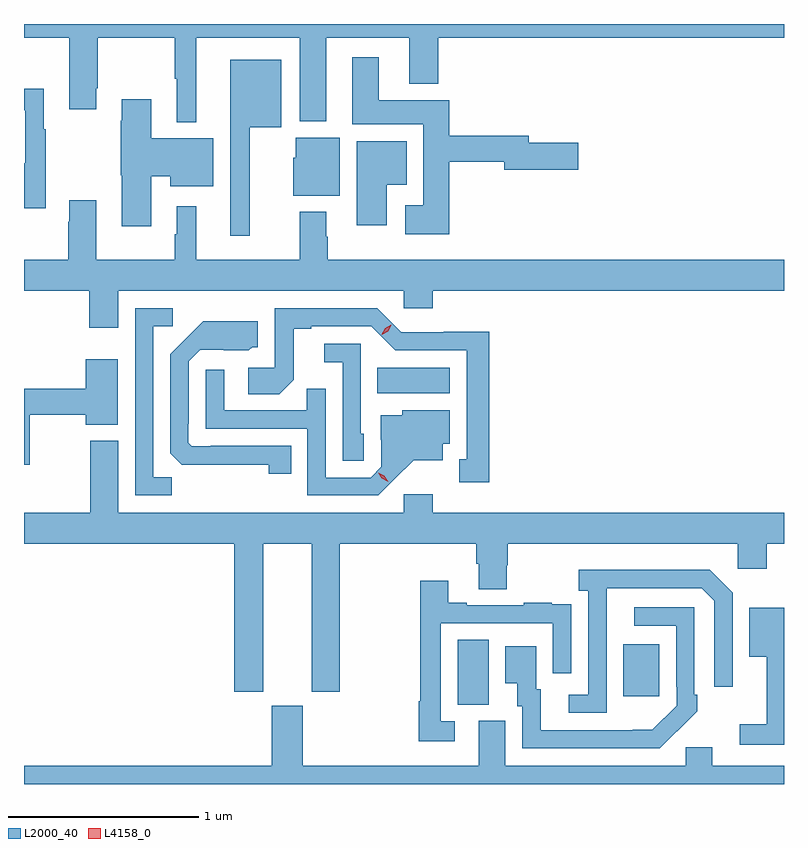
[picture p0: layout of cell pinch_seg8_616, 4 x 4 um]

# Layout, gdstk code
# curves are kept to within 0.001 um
import gdstk
lib = gdstk.Library(unit=1e-6, precision=1e-09)
def R(c, l, rs):  # rectangles x0, y0, x1, y1
    for r in rs: c.add(gdstk.rectangle(r[:2], r[2:], *l))
def P(c, l, *ps):  # polygons
    for p in ps: c.add(gdstk.Polygon(p, *l))
L2000_40 = (2000, 40)
L4158_0 = (4158, 0)

pinch_seg8_616 = lib.new_cell('pinch_seg8_616')
R(pinch_seg8_616, L2000_40, [(192.182,1097.005,192.346,1097.348), (193.055,1097.049,193.243,1097.323), (191.758,1098.644,192.142,1098.778)])
P(pinch_seg8_616, L2000_40, [(190.807,1100.516),(191.351,1100.516),(191.351,1100.075),(191.491,1100.075),(191.491,1100.516),(191.927,1100.516),(191.927,1100.273),(192.08,1100.273),(192.08,1100.516),(193.9,1100.516),(193.9,1100.588),(189.9,1100.588),(189.9,1100.516),(190.139,1100.516),(190.139,1100.139),(190.279,1100.139),(190.279,1100.251),(190.287,1100.251),(190.287,1100.516),(190.693,1100.516),(190.693,1100.3),(190.703,1100.3),(190.703,1100.072),(190.807,1100.072)],
  [(192.137,1099.864),(192.428,1099.864),(192.428,1099.822),(192.817,1099.822),(192.817,1099.964),(192.556,1099.964),(192.556,1100),(192.137,1100),(192.137,1100.188),(191.767,1100.188),(191.767,1100.413),(191.627,1100.413),(191.627,1100.06),(192.002,1100.06),(192.002,1099.633),(191.907,1099.633),(191.907,1099.481),(192.137,1099.481)],
  [(191.089,1100.045),(191.254,1100.045),(191.254,1100.401),(190.985,1100.401),(190.985,1099.473),(191.089,1099.473)],
  [(190.015,1100.035),(190.003,1100.035),(190.003,1100.248),(189.9,1100.248),(189.9,1100.135),(189.906,1100.135),(189.906,1099.855),(189.9,1099.855),(189.9,1099.619),(190.015,1099.619)],
  [(190.57,1099.787),(190.67,1099.787),(190.67,1099.733),(190.897,1099.733),(190.897,1099.987),(190.57,1099.987),(190.57,1100.191),(190.415,1100.191),(190.415,1100.078),(190.408,1100.078),(190.408,1099.791),(190.415,1099.791),(190.415,1099.524),(190.57,1099.524)],
  [(191.563,1099.99),(191.33,1099.99),(191.33,1099.884),(191.318,1099.884),(191.318,1099.685),(191.563,1099.685)],
  [(191.809,1099.742),(191.914,1099.742),(191.914,1099.972),(191.651,1099.972),(191.651,1099.53),(191.809,1099.53)],
  [(191.499,1099.469),(191.491,1099.469),(191.491,1099.6),(191.351,1099.6),(191.351,1099.348),(190.807,1099.348),(190.807,1099.63),(190.703,1099.63),(190.703,1099.481),(190.693,1099.481),(190.693,1099.348),(190.279,1099.348),(190.279,1099.66),(190.139,1099.66),(190.139,1099.547),(190.132,1099.547),(190.132,1099.348),(189.9,1099.348),(189.9,1099.184),(190.244,1099.184),(190.244,1098.99),(190.396,1098.99),(190.396,1099.184),(191.898,1099.184),(191.898,1099.091),(192.05,1099.091),(192.05,1099.184),(193.9,1099.184),(193.9,1099.348),(191.499,1099.348)],
  [(192.349,1098.968),(192.108,1098.968),(192.108,1098.966),(191.886,1098.966),(191.76,1099.092),(191.22,1099.092),(191.22,1098.78),(191.079,1098.78),(191.079,1098.64),(191.243,1098.64),(191.319,1098.716),(191.319,1098.984),(191.413,1098.984),(191.413,1098.996),(191.727,1098.996),(191.853,1098.87),(192.23,1098.87),(192.23,1098.297),(192.191,1098.297),(192.191,1098.177),(192.349,1098.177)],
  [(190.677,1098.203),(190.581,1098.203),(190.581,1098.996),(190.684,1098.996),(190.684,1099.092),(190.485,1099.092),(190.485,1098.108),(190.677,1098.108)],
  [(191.306,1098.369),(190.882,1098.369),(190.882,1098.366),(190.782,1098.366),(190.764,1098.384),(190.764,1098.484),(190.767,1098.484),(190.767,1098.813),(190.827,1098.873),(191.084,1098.872),(191.1,1098.888),(191.131,1098.888),(191.131,1099.024),(190.843,1099.024),(190.671,1098.85),(190.671,1098.328),(190.73,1098.269),(191.188,1098.268),(191.188,1098.222),(191.306,1098.222)],
  [(191.688,1098.432),(191.673,1098.432),(191.673,1098.906),(191.481,1098.906),(191.481,1098.809),(191.577,1098.809),(191.577,1098.289),(191.688,1098.289)],
  [(189.93,1098.532),(190.226,1098.532),(190.226,1098.479),(190.393,1098.479),(190.393,1098.823),(190.226,1098.823),(190.226,1098.668),(189.9,1098.668),(189.9,1098.267),(189.93,1098.267)],
  [(191.848,1098.191),(191.951,1098.293),(192.103,1098.293),(192.103,1098.38),(192.142,1098.38),(192.142,1098.556),(191.892,1098.556),(191.892,1098.529),(191.777,1098.529),(191.777,1098.4),(191.781,1098.4),(191.781,1098.258),(191.724,1098.201),(191.487,1098.201),(191.487,1098.668),(191.389,1098.668),(191.389,1098.555),(190.953,1098.555),(190.953,1098.769),(190.857,1098.769),(190.857,1098.459),(191.391,1098.459),(191.391,1098.108),(191.764,1098.108)],
  [(191.006,1097.073),(191.158,1097.073),(191.158,1097.852),(191.414,1097.852),(191.414,1097.073),(191.562,1097.073),(191.562,1097.852),(192.281,1097.852),(192.281,1097.746),(192.293,1097.746),(192.293,1097.614),(192.441,1097.614),(192.441,1097.739),(192.446,1097.739),(192.446,1097.852),(193.656,1097.852),(193.656,1097.721),(193.808,1097.721),(193.808,1097.852),(193.9,1097.852),(193.9,1098.016),(192.05,1098.016),(192.05,1098.112),(191.898,1098.112),(191.898,1098.016),(190.396,1098.016),(190.396,1098.394),(190.249,1098.394),(190.249,1098.016),(189.9,1098.016),(189.9,1097.852),(191.006,1097.852)],
  [(192.966,1097.419),(192.967,1097.619),(193.467,1097.619),(193.533,1097.553),(193.533,1097.1),(193.629,1097.1),(193.629,1097.595),(193.508,1097.716),(192.819,1097.716),(192.819,1097.606),(192.87,1097.606),(192.87,1097.058),(192.768,1097.058),(192.768,1096.962),(192.966,1096.962)],
  [(192.166,1096.917),(192.093,1096.917),(192.093,1097.433),(192.684,1097.433),(192.684,1097.172),(192.78,1097.172),(192.78,1097.426),(192.779,1097.426),(192.779,1097.535),(192.677,1097.535),(192.677,1097.542),(192.529,1097.542),(192.529,1097.529),(192.229,1097.529),(192.229,1097.542),(192.133,1097.542),(192.133,1097.659),(191.985,1097.659),(191.985,1097.024),(191.977,1097.024),(191.977,1096.812),(192.166,1096.812)],
  [(193.337,1096.867),(193.338,1096.866),(193.443,1096.971),(193.443,1097.059),(193.428,1097.059),(193.428,1097.517),(193.113,1097.517),(193.113,1097.421),(193.332,1097.421),(193.332,1097.101),(193.335,1097.101),(193.335,1097.001),(193.207,1096.873),(192.619,1096.872),(192.619,1097.088),(192.595,1097.088),(192.595,1097.314),(192.434,1097.314),(192.434,1097.117),(192.497,1097.117),(192.497,1096.998),(192.522,1096.998),(192.522,1096.776),(193.246,1096.776)],
  [(193.9,1097.515),(193.718,1097.515),(193.718,1097.258),(193.808,1097.258),(193.808,1096.903),(193.668,1096.903),(193.668,1096.794),(193.9,1096.794)],
  [(193.9,1096.684),(193.522,1096.684),(193.522,1096.782),(193.383,1096.782),(193.383,1096.684),(192.433,1096.684),(192.433,1096.92),(192.293,1096.92),(192.293,1096.684),(191.368,1096.684),(191.368,1097.001),(191.204,1097.001),(191.204,1096.684),(189.9,1096.684),(189.9,1096.588),(193.9,1096.588)])
P(pinch_seg8_616, L4158_0, [(191.783,1098.953),(191.783,1098.954),(191.801,1098.986),(191.833,1099.004),(191.833,1099.004),(191.833,1099.004),(191.816,1098.972),(191.784,1098.953)],
  [(191.816,1098.179),(191.783,1098.196),(191.764,1098.227),(191.764,1098.227),(191.764,1098.227),(191.797,1098.211),(191.816,1098.18),(191.816,1098.179)])

lib.write_gds('pinch_seg8_616.gds')
